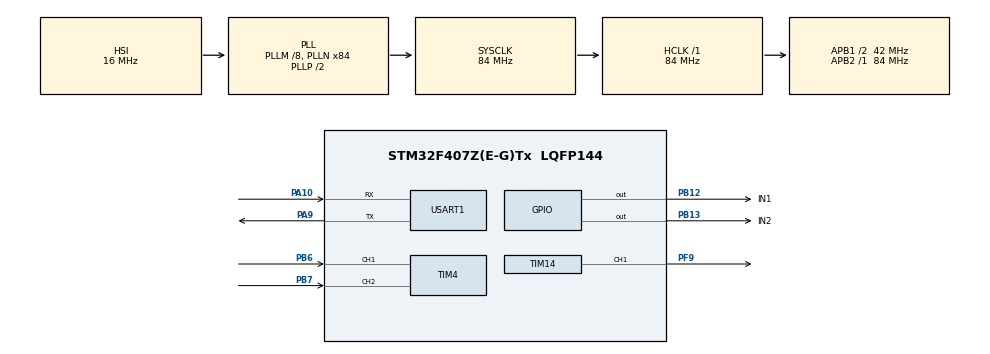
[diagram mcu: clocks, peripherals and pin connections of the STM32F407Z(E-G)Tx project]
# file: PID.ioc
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Mcu.Family=STM32F4
Mcu.Name=STM32F407Z(E-G)Tx
Mcu.Package=LQFP144
NVIC.PriorityGroup=NVIC_PRIORITYGROUP_4
NVIC.TIM6_DAC_IRQn=true\:0\:0\:false\:false\:true\:true\:true\:true
PA10.Mode=Asynchronous
PA10.Signal=USART1_RX
PA13.Mode=Serial_Wire
PA13.Signal=SYS_JTMS-SWDIO
PA14.Mode=Serial_Wire
PA14.Signal=SYS_JTCK-SWCLK
PA9.Mode=Asynchronous
PA9.Signal=USART1_TX
PB12.GPIO_Label=IN1
PB12.Signal=GPIO_Output
PB13.GPIO_Label=IN2
PB13.Signal=GPIO_Output
PB6.GPIO_PuPd=GPIO_PULLUP
PB6.Signal=S_TIM4_CH1
PB7.Signal=S_TIM4_CH2
PF9.Signal=S_TIM14_CH1
PH0-OSC_IN.Mode=HSE-External-Oscillator
PH0-OSC_IN.Signal=RCC_OSC_IN
PH1-OSC_OUT.Mode=HSE-External-Oscillator
PH1-OSC_OUT.Signal=RCC_OSC_OUT
ProjectManager.HeapSize=0x200
ProjectManager.StackSize=0x400
ProjectManager.TargetToolchain=MDK-ARM V5.32
RCC.48MHZClocksFreq_Value=42000000
RCC.AHBFreq_Value=84000000
RCC.APB1CLKDivider=RCC_HCLK_DIV2
RCC.APB1Freq_Value=42000000
RCC.APB1TimFreq_Value=84000000
RCC.APB2Freq_Value=84000000
RCC.APB2TimFreq_Value=84000000
RCC.CortexFreq_Value=84000000
RCC.HCLKFreq_Value=84000000
RCC.HSE_VALUE=25000000
RCC.HSI_VALUE=16000000
RCC.LSE_VALUE=32768
RCC.PLLM=8
RCC.PLLN=84
RCC.SYSCLKFreq_VALUE=84000000
RCC.SYSCLKSource=RCC_SYSCLKSOURCE_PLLCLK
RCC.VCOOutputFreq_Value=168000000
SH.S_TIM14_CH1.0=TIM14_CH1,PWM Generation1 CH1
SH.S_TIM4_CH1.0=TIM4_CH1,Encoder_Interface
SH.S_TIM4_CH2.0=TIM4_CH2,Encoder_Interface
TIM14.Channel=TIM_CHANNEL_1
TIM14.Period=999
TIM14.Prescaler=7
TIM4.EncoderMode=TIM_ENCODERMODE_TI12
TIM6.Period=99
TIM6.Prescaler=8399
USART1.VirtualMode=VM_ASYNC
VP_TIM14_VS_ClockSourceINT.Mode=Enable_Timer
VP_TIM6_VS_ClockSourceINT.Mode=Enable_Timer
board=custom

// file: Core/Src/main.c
/* USER CODE BEGIN Header */
/**
  ******************************************************************************
  * @file           : main.c
  * @brief          : Main program body
  ******************************************************************************
  * @attention
  *
  * Copyright (c) 2026 STMicroelectronics.
  * All rights reserved.
  *
  * This software is licensed under terms that can be found in the LICENSE file
  * in the root directory of this software component.
  * If no LICENSE file comes with this software, it is provided AS-IS.
  *
  ******************************************************************************
  */
/* USER CODE END Header */
#include "main.h"
#include "tim.h"
#include "usart.h"
#include "gpio.h"

/* USER CODE BEGIN Includes */
#include "stdio.h"
#include <math.h>
extern UART_HandleTypeDef huart1;
/* USER CODE END Includes */

void SystemClock_Config(void);

/* USER CODE BEGIN 0 */

typedef struct{
float Kp;
float Ki;
 float Kd;
float Target;
float Actual;
 float Error;
 float LastError;
 float Integral;
 float Out;

}PID_TypeDef;
PID_TypeDef SpeedPID ={0};

#ifdef __GNUC__
#define PUTCHAR_PROTOTYPE int __io_putchar(int ch)
#else
#define PUTCHAR_PROTOTYPE int fputc(int ch, FILE *f)
#endif
 PUTCHAR_PROTOTYPE {
    HAL_UART_Transmit(&huart1, (uint8_t *)&ch, 1, 0xFFFF);
    return ch;
}
 PID_TypeDef PosPID = {0};   // 实例化一个位置环控制器
int32_t CurrentPosition = 0; // 【极其关键】：定义一个 32 位的全局变量，记录绝对位置
 float Final_Target = 180000.0f;  // 真实终点
float Current_Target = 0.0f;     // 虚拟兔子当前位置
float Step_Speed = 0.0f;         // 兔子当前速度
float Max_Speed = 30.0f;         //兔子最高限速
float Acceleration = 0.5f;       // 子加速度/减速度

/* USER CODE END 0 */

int main(void)
{

  /* USER CODE BEGIN 1 */
 PosPID.Kp =0.08f; // 比例系数调小，防止起步猛冲
 PosPID.Ki = 0.01f; // 必须要有积分，消除稳态误差，防止哒哒哒震动
 PosPID.Kd =1.0f;
 PosPID.Target =180000.0f; // 目标速度：每10ms走15个脉冲

  /* USER CODE END 1 */

  /* MCU Configuration--------------------------------------------------------*/

  /* Reset of all peripherals, Initializes the Flash interface and the Systick. */
  HAL_Init();

  /* Configure the system clock */
  SystemClock_Config();

  /* Initialize all configured peripherals */
  MX_GPIO_Init();
  MX_TIM6_Init();
  MX_TIM14_Init();
  MX_USART1_UART_Init();
  MX_TIM4_Init();
  /* USER CODE BEGIN 2 */
  //
HAL_Delay(5000);

HAL_TIM_Encoder_Start(&htim4, TIM_CHANNEL_ALL); // 开启 pb6/pb7 编码器
HAL_TIM_PWM_Start(&htim14, TIM_CHANNEL_1);      // 开启 PF9 PWM
HAL_TIM_Base_Start_IT(&htim6);                  // 开启 10ms 中断

  /* USER CODE END 2 */

  /* Infinite loop */
  while (1)
  {

  }
}

void SystemClock_Config(void)
{
  RCC_OscInitTypeDef RCC_OscInitStruct = {0};
  RCC_ClkInitTypeDef RCC_ClkInitStruct = {0};

  /** Configure the main internal regulator output voltage
  */
  __HAL_RCC_PWR_CLK_ENABLE();
  __HAL_PWR_VOLTAGESCALING_CONFIG(PWR_REGULATOR_VOLTAGE_SCALE1);

  /** Initializes the RCC Oscillators according to the specified parameters
  * in the RCC_OscInitTypeDef structure.
  */
  RCC_OscInitStruct.OscillatorType = RCC_OSCILLATORTYPE_HSI;
  RCC_OscInitStruct.HSIState = RCC_HSI_ON;
  RCC_OscInitStruct.HSICalibrationValue = RCC_HSICALIBRATION_DEFAULT;
  RCC_OscInitStruct.PLL.PLLState = RCC_PLL_ON;
  RCC_OscInitStruct.PLL.PLLSource = RCC_PLLSOURCE_HSI;
  RCC_OscInitStruct.PLL.PLLM = 8;
  RCC_OscInitStruct.PLL.PLLN = 84;
  RCC_OscInitStruct.PLL.PLLP = RCC_PLLP_DIV2;
  RCC_OscInitStruct.PLL.PLLQ = 4;
  if (HAL_RCC_OscConfig(&RCC_OscInitStruct) != HAL_OK)
  {
    Error_Handler();
  }

  /** Initializes the CPU, AHB and APB buses clocks
  */
  RCC_ClkInitStruct.ClockType = RCC_CLOCKTYPE_HCLK|RCC_CLOCKTYPE_SYSCLK
                              |RCC_CLOCKTYPE_PCLK1|RCC_CLOCKTYPE_PCLK2;
  RCC_ClkInitStruct.SYSCLKSource = RCC_SYSCLKSOURCE_PLLCLK;
  RCC_ClkInitStruct.AHBCLKDivider = RCC_SYSCLK_DIV1;
  RCC_ClkInitStruct.APB1CLKDivider = RCC_HCLK_DIV2;
  RCC_ClkInitStruct.APB2CLKDivider = RCC_HCLK_DIV1;

  if (HAL_RCC_ClockConfig(&RCC_ClkInitStruct, FLASH_LATENCY_2) != HAL_OK)
  {
    Error_Handler();
  }
}

/* USER CODE BEGIN 4 */
void HAL_TIM_PeriodElapsedCallback(TIM_HandleTypeDef *htim)
    {

    if(htim->Instance==TIM6)
    {
//
//    int16_t encoder_count=(int16_t)__HAL_TIM_GET_COUNTER(&htim4);
//    __HAL_TIM_SET_COUNTER(&htim4,0);
//
//        SpeedPID.Actual = (0.7f * SpeedPID.Actual) + (0.3f * (float)encoder_count);
//
        int16_t delta = (int16_t)__HAL_TIM_GET_COUNTER(&htim4); // 读取这 10ms 的脉冲差
        __HAL_TIM_SET_COUNTER(&htim4, 0);                       // 依然清零定时器防溢出

        CurrentPosition += delta;            // 把这段增量加到总里程碑里！
        PosPID.Actual = (float)CurrentPosition; // 此时Actual 就是绝对位置

        float distance_to_go = Final_Target - Current_Target;// 距离 = 终点 - 兔子现在的位置
        // 物理学公式：刹车距离 = 速度的平方 / (2 * 加速度)
        float slow_down_distance = (Step_Speed * Step_Speed) / (2.0f * Acceleration);

            if (fabs(distance_to_go) > slow_down_distance) {
        // 还没到刹车点，允许加速！
            if (Step_Speed < Max_Speed) {
                Step_Speed += Acceleration; // 慢慢踩油门
            }
        } else {
            // 离终点不够远了，必须开始减速刹车！
            if (Step_Speed > 2.0f) { // // 保留一点最小速度防止卡死
                Step_Speed -= Acceleration; // 慢慢松油门
            }
        }

        /// 移动兔子
        if (distance_to_go > 0) {
            Current_Target += Step_Speed;  // 兔子往正方向跑
            if(Current_Target > Final_Target) Current_Target = Final_Target;// 防止超车
        } else if (distance_to_go < 0) {
            Current_Target -= Step_Speed; // // 兔子往反方向跑
            if(Current_Target < Final_Target) Current_Target = Final_Target;
        }
              // 2. PID 控制：死死咬住这只兔子
        PosPID.Error = Current_Target - PosPID.Actual;

        PosPID.Integral +=  PosPID.Error;

           // 积分限幅防暴走(非常关键)
        if(PosPID.Integral > 10000) PosPID.Integral = 10000;
        if(PosPID.Integral < -10000) PosPID.Integral = -10000;

        PosPID.Out = (PosPID.Kp * PosPID.Error) +
                     (PosPID.Ki * PosPID.Integral) +
                     (PosPID.Kd * (PosPID.Error - PosPID.LastError));
        PosPID.LastError = PosPID.Error;

          // 定义一个死区补偿值（这个值需要你实验，刚好能让电机极其缓慢转动的 PWM 值）
            #define DEADZONE_BIAS 40
            #define ERROR_THRESHOLD 10  // 误差容忍度，小于 2 个脉冲就不管了，防止震荡

            // ... 之前的 PID 计算代码 ...
            int pwm_output = (int)PosPID.Out;

            if (PosPID.Error > ERROR_THRESHOLD) {
                pwm_output += DEADZONE_BIAS; // 正向补偿
            } else if (PosPID.Error < -ERROR_THRESHOLD) {
                pwm_output -= DEADZONE_BIAS; // 反向补偿
            } else {
                pwm_output = 0; // 到位了，彻底关断，防止嗡嗡响
            }
//

           if (pwm_output >= 0) {
            // ��ת�߼���PB12(IN1) = 1, PB13(IN2) = 0
            HAL_GPIO_WritePin(GPIOB, GPIO_PIN_12, GPIO_PIN_SET);
            HAL_GPIO_WritePin(GPIOB, GPIO_PIN_13, GPIO_PIN_RESET);

            if(pwm_output >500) {pwm_output =500;} // PWM 上限限制
            __HAL_TIM_SET_COMPARE(&htim14, TIM_CHANNEL_1, pwm_output); // 写入 PF9
        } else {
            // ��ת�߼���PB12(IN1) = 0, PB13(IN2) = 1
            HAL_GPIO_WritePin(GPIOB, GPIO_PIN_12, GPIO_PIN_RESET);
            HAL_GPIO_WritePin(GPIOB, GPIO_PIN_13, GPIO_PIN_SET);

            pwm_output = -pwm_output; // 取绝对值
            if(pwm_output > 500) {pwm_output =500; }
            __HAL_TIM_SET_COMPARE(&htim14, TIM_CHANNEL_1, pwm_output); //写入 PF9
        }
         // 4. 打印格式化数据，供 SerialPlot 绘图
        printf("%.1f,%.1f,%.1f\n", Final_Target, Current_Target, PosPID.Actual);

    }

    }

/* USER CODE END 4 */

void Error_Handler(void)
{
  __disable_irq();
  while (1)
  {
  }
}
